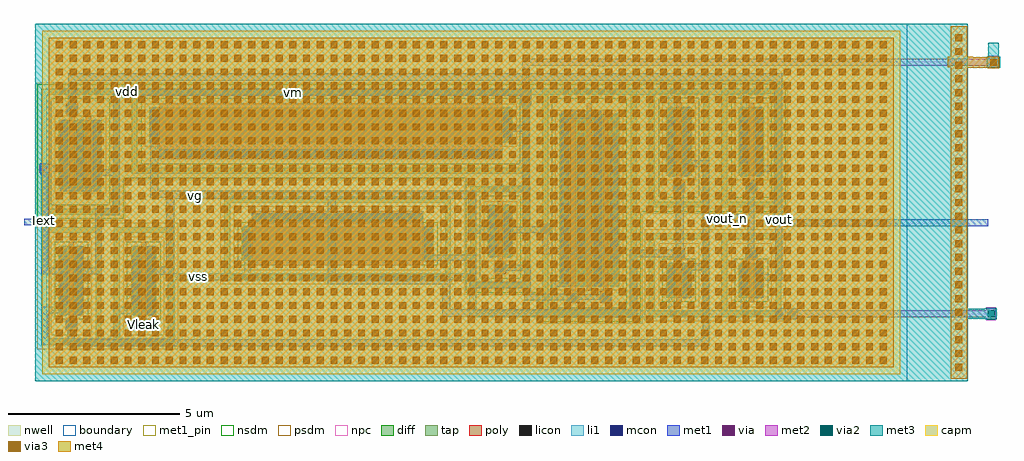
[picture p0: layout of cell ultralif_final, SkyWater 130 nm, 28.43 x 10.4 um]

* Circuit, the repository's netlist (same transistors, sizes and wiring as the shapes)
* NGSPICE file created from ultralif_final.ext - technology: sky130A

.subckt sky130_fd_pr__nfet_01v8_8CWFJ6 B D S G
X0 S G D B sky130_fd_pr__nfet_01v8 ad=0.58 pd=4.58 as=0.58 ps=4.58 w=2 l=0.15
.ends

.subckt sky130_fd_pr__nfet_01v8_A8ARHG B D S G
X0 S G D B sky130_fd_pr__nfet_01v8 ad=0.29 pd=2.58 as=0.29 ps=2.58 w=1 l=0.15
.ends

.subckt sky130_fd_pr__pfet_01v8_UAAMFL D S G B
X0 S G D B sky130_fd_pr__pfet_01v8 ad=1.55 pd=10.62 as=0.825 ps=5.33 w=5 l=0.15
X1 S G D B sky130_fd_pr__pfet_01v8 ad=0.825 pd=5.33 as=1.55 ps=10.62 w=5 l=0.15
X2 D a_n15_n509# S B sky130_fd_pr__pfet_01v8 ad=0.825 pd=5.33 as=0.825 ps=5.33 w=5 l=0.15
.ends

.subckt sky130_fd_pr__pfet_01v8_KCU4UF D S G B
X0 S a_n63_n281# D B sky130_fd_pr__pfet_01v8 ad=0.33 pd=2.33 as=0.62 ps=4.62 w=2 l=0.15
X1 D G S B sky130_fd_pr__pfet_01v8 ad=0.62 pd=4.62 as=0.33 ps=2.33 w=2 l=0.15
.ends

.subckt sky130_fd_pr__pfet_01v8_UVWACL B D S G
X0 S G D B sky130_fd_pr__pfet_01v8 ad=0.435 pd=3.58 as=0.435 ps=3.58 w=1.5 l=0.15
.ends

.subckt sky130_fd_pr__pfet_01v8_RCLJGL B D S G
X0 S G D B sky130_fd_pr__pfet_01v8 ad=0.58 pd=4.58 as=0.58 ps=4.58 w=2 l=0.15
.ends

.subckt sky130_fd_pr__cap_mim_m3_1_5PJWHD C2 C1
X0 C1 C2 sky130_fd_pr__cap_mim_m3_1 l=10 w=25
.ends

.subckt sky130_fd_pr__pfet_01v8_6W5W95 B D S G
X0 S G D B sky130_fd_pr__pfet_01v8 ad=0.29 pd=2.58 as=0.29 ps=2.58 w=1 l=10
.ends

.subckt sky130_fd_pr__nfet_01v8_MFDSFG B D S G
X0 S G D B sky130_fd_pr__nfet_01v8 ad=0.29 pd=2.58 as=0.29 ps=2.58 w=1 l=5
.ends

.subckt ultralif_final vss vout vdd Vleak
Xsky130_fd_pr__nfet_01v8_8CWFJ6_1 vss vg vss Vleak sky130_fd_pr__nfet_01v8_8CWFJ6
Xsky130_fd_pr__nfet_01v8_A8ARHG_1 vss vout vss vout_n sky130_fd_pr__nfet_01v8_A8ARHG
Xsky130_fd_pr__nfet_01v8_A8ARHG_0 vss vout_n vss vg sky130_fd_pr__nfet_01v8_A8ARHG
Xsky130_fd_pr__pfet_01v8_UAAMFL_0 sky130_fd_pr__pfet_01v8_UVWACL_0/G vss sky130_fd_pr__pfet_01v8_UVWACL_0/G
+ vdd sky130_fd_pr__pfet_01v8_UAAMFL
Xsky130_fd_pr__pfet_01v8_KCU4UF_0 vss vss vout vdd sky130_fd_pr__pfet_01v8_KCU4UF
Xsky130_fd_pr__pfet_01v8_UVWACL_0 vdd vg vss sky130_fd_pr__pfet_01v8_UVWACL_0/G sky130_fd_pr__pfet_01v8_UVWACL
Xsky130_fd_pr__pfet_01v8_RCLJGL_0 vdd vout_n vdd vg sky130_fd_pr__pfet_01v8_RCLJGL
Xsky130_fd_pr__cap_mim_m3_1_5PJWHD_0 vss sky130_fd_pr__cap_mim_m3_1_5PJWHD_0/C1 sky130_fd_pr__cap_mim_m3_1_5PJWHD
Xsky130_fd_pr__pfet_01v8_RCLJGL_1 vdd vout vdd vout_n sky130_fd_pr__pfet_01v8_RCLJGL
Xsky130_fd_pr__pfet_01v8_6W5W95_0 vdd vg vss vg sky130_fd_pr__pfet_01v8_6W5W95
Xsky130_fd_pr__nfet_01v8_MFDSFG_0 vss sky130_fd_pr__pfet_01v8_UVWACL_0/G vss vg sky130_fd_pr__nfet_01v8_MFDSFG
Xsky130_fd_pr__nfet_01v8_8CWFJ6_0 vss vss vss vout_n sky130_fd_pr__nfet_01v8_8CWFJ6
.ends

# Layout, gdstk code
from math import pi, radians
import gdstk
lib = gdstk.Library(unit=1e-6, precision=1e-09)
def R(c, l, rs):  # rectangles x0, y0, x1, y1
    for r in rs: c.add(gdstk.rectangle(r[:2], r[2:], *l))
def A(c, l, x, y, w, h, nx, ny, dx, dy):  # array of equal rectangles
    R(c, l, [(x+i*dx, y+j*dy, x+i*dx+w, y+j*dy+h) for i in range(nx) for j in range(ny)])
nwell = (64, 20)
diff = (65, 20)
tap = (65, 44)
poly = (66, 20)
licon = (66, 44)
li1 = (67, 20)
mcon = (67, 44)
met1_pin = (68, 16)
met1 = (68, 20)
via = (68, 44)
met2 = (69, 20)
via2 = (69, 44)
met3 = (70, 20)
via3 = (70, 44)
met4 = (71, 20)
capm = (89, 44)
nsdm = (93, 44)
psdm = (94, 20)
npc = (95, 20)
boundary = (235, 4)

sky130_fd_pr__nfet_01v8_ = lib.new_cell('sky130_fd_pr__nfet_01v8_8CWFJ6')
R(sky130_fd_pr__nfet_01v8_, diff, [(-0.365,-0.845,0.365,1.155)])
R(sky130_fd_pr__nfet_01v8_, tap, [(-0.875,-1.715,0.875,-1.545), (-0.875,-1.545,-0.705,1.545), (0.705,-1.545,0.875,1.545), (-0.875,1.545,0.875,1.715)])
R(sky130_fd_pr__nfet_01v8_, poly, [(-0.165,-1.285,0.165,-0.955), (-0.075,-0.955,0.075,1.285)])
A(sky130_fd_pr__nfet_01v8_, licon, -0.305, -0.78, 0.17, 0.17, 1, 6, 0, 0.34)
A(sky130_fd_pr__nfet_01v8_, licon, 0.135, -0.78, 0.17, 0.17, 1, 6, 0, 0.34)
R(sky130_fd_pr__nfet_01v8_, licon, [(-0.255,-1.715,-0.085,-1.545), (0.085,-1.715,0.255,-1.545), (-0.085,-1.205,0.085,-1.035)])
R(sky130_fd_pr__nfet_01v8_, li1, [(-0.475,-1.715,0.475,-1.545), (-0.165,-1.205,0.165,-1.035), (-0.305,-0.865,-0.135,1.175), (0.135,-0.865,0.305,1.175)])
A(sky130_fd_pr__nfet_01v8_, mcon, -0.305, -0.65, 0.17, 0.17, 1, 5, 0, 0.36)
A(sky130_fd_pr__nfet_01v8_, mcon, 0.135, -0.47, 0.17, 0.17, 1, 4, 0, 0.36)
R(sky130_fd_pr__nfet_01v8_, mcon, [(-0.085,-1.205,0.085,-1.035)])
R(sky130_fd_pr__nfet_01v8_, met1, [(-0.145,-1.235,0.145,-1.005), (-0.335,-0.845,-0.105,1.155), (0.105,-0.565,0.335,0.875)])
R(sky130_fd_pr__nfet_01v8_, nsdm, [(-0.49,-0.97,0.49,1.28)])
R(sky130_fd_pr__nfet_01v8_, psdm, [(-1,-1.84,1,-1.42), (-1,-1.42,-0.58,1.42), (0.58,-1.42,1,1.42), (-1,1.42,1,1.84)])
R(sky130_fd_pr__nfet_01v8_, npc, [(-0.185,-1.305,0.185,-0.935)])
R(sky130_fd_pr__nfet_01v8_, boundary, [(-0.79,-1.63,0.79,1.63)])
sky130_fd_pr__nfet_01v8_.add(gdstk.Label('B', (0,-1.63), layer=67, texttype=5))
sky130_fd_pr__nfet_01v8_.add(gdstk.Label('D', (-0.22,0.155), layer=67, texttype=5))
sky130_fd_pr__nfet_01v8_.add(gdstk.Label('S', (0.22,0.155), layer=67, texttype=5))
sky130_fd_pr__nfet_01v8_.add(gdstk.Label('G', (0,-1.12), layer=67, texttype=5))

c_sky130_fd_pr__nfet_01v8_ = lib.new_cell('sky130_fd_pr__nfet_01v8_MFDSFG')
R(c_sky130_fd_pr__nfet_01v8_, diff, [(-2.79,-0.655,2.79,0.345)])
R(c_sky130_fd_pr__nfet_01v8_, tap, [(-3.3,-1.215,3.3,-1.045), (-3.3,-1.045,-3.13,1.045), (3.13,-1.045,3.3,1.045), (-3.3,1.045,3.3,1.215)])
R(c_sky130_fd_pr__nfet_01v8_, poly, [(-2.5,-0.785,2.5,0.785)])
A(c_sky130_fd_pr__nfet_01v8_, licon, -2.805, -1.215, 0.17, 0.17, 17, 1, 0.34, 0)
A(c_sky130_fd_pr__nfet_01v8_, licon, -2.73, -0.58, 0.17, 0.17, 1, 3, 0, 0.34)
A(c_sky130_fd_pr__nfet_01v8_, licon, 2.56, -0.58, 0.17, 0.17, 1, 3, 0, 0.34)
A(c_sky130_fd_pr__nfet_01v8_, licon, -2.295, 0.535, 0.17, 0.17, 14, 1, 0.34, 0)
R(c_sky130_fd_pr__nfet_01v8_, li1, [(-2.9,-1.215,2.9,-1.045), (-2.73,-0.675,-2.56,0.365), (2.56,-0.675,2.73,0.365), (-2.5,0.535,2.5,0.705)])
A(c_sky130_fd_pr__nfet_01v8_, mcon, -2.245, 0.535, 0.17, 0.17, 13, 1, 0.36, 0)
R(c_sky130_fd_pr__nfet_01v8_, mcon, [(-2.73,-0.42,-2.56,-0.25), (2.56,-0.42,2.73,-0.25), (-2.73,-0.06,-2.56,0.11), (2.56,-0.06,2.73,0.11)])
R(c_sky130_fd_pr__nfet_01v8_, met1, [(-2.76,-0.655,-2.53,0.345), (2.53,-0.525,2.76,0.215), (-2.48,0.505,2.48,0.735)])
R(c_sky130_fd_pr__nfet_01v8_, nsdm, [(-2.915,-0.78,2.915,0.47)])
R(c_sky130_fd_pr__nfet_01v8_, psdm, [(-3.425,-1.34,3.425,-0.92), (-3.425,-0.92,-3.005,0.92), (3.005,-0.92,3.425,0.92), (-3.425,0.92,3.425,1.34)])
R(c_sky130_fd_pr__nfet_01v8_, npc, [(-2.395,0.435,2.395,0.805)])
R(c_sky130_fd_pr__nfet_01v8_, boundary, [(-3.215,-1.13,3.215,1.13)])
c_sky130_fd_pr__nfet_01v8_.add(gdstk.Label('B', (0,-1.13), layer=67, texttype=5))
c_sky130_fd_pr__nfet_01v8_.add(gdstk.Label('D', (-2.645,-0.155), layer=67, texttype=5))
c_sky130_fd_pr__nfet_01v8_.add(gdstk.Label('S', (2.645,-0.155), layer=67, texttype=5))
c_sky130_fd_pr__nfet_01v8_.add(gdstk.Label('G', (0,0.62), layer=67, texttype=5))

sky130_fd_pr__pfet_01v8_ = lib.new_cell('sky130_fd_pr__pfet_01v8_6W5W95')
R(sky130_fd_pr__pfet_01v8_, nwell, [(-5.98,-1.42,5.98,1.42)])
R(sky130_fd_pr__pfet_01v8_, diff, [(-5.29,-0.32,5.29,0.68)])
R(sky130_fd_pr__pfet_01v8_, tap, [(-5.8,-1.24,5.8,-1.07), (-5.8,-1.07,-5.63,1.07), (5.63,-1.07,5.8,1.07), (-5.8,1.07,5.8,1.24)])
R(sky130_fd_pr__pfet_01v8_, poly, [(-5,-0.805,5,0.81)])
A(sky130_fd_pr__pfet_01v8_, licon, -4.845, -0.725, 0.17, 0.17, 29, 1, 0.34, 0)
A(sky130_fd_pr__pfet_01v8_, licon, -5.23, -0.245, 0.17, 0.17, 1, 3, 0, 0.34)
A(sky130_fd_pr__pfet_01v8_, licon, 5.06, -0.245, 0.17, 0.17, 1, 3, 0, 0.34)
A(sky130_fd_pr__pfet_01v8_, licon, -5.185, 1.07, 0.17, 0.17, 31, 1, 0.34, 0)
R(sky130_fd_pr__pfet_01v8_, li1, [(-5,-0.725,5,-0.555), (-5.23,-0.34,-5.06,0.7), (5.06,-0.34,5.23,0.7), (-5.4,1.07,5.4,1.24)])
A(sky130_fd_pr__pfet_01v8_, mcon, -4.765, -0.725, 0.17, 0.17, 27, 1, 0.36, 0)
R(sky130_fd_pr__pfet_01v8_, mcon, [(-5.23,-0.085,-5.06,0.085), (5.06,-0.085,5.23,0.085), (-5.23,0.275,-5.06,0.445), (5.06,0.275,5.23,0.445)])
R(sky130_fd_pr__pfet_01v8_, met1, [(-4.98,-0.755,4.98,-0.525), (-5.26,-0.32,-5.03,0.68), (5.03,-0.19,5.26,0.55)])
R(sky130_fd_pr__pfet_01v8_, nsdm, [(-5.925,-1.365,5.925,-0.945), (-5.925,-0.945,-5.505,0.945), (5.505,-0.945,5.925,0.945), (-5.925,0.945,5.925,1.365)])
R(sky130_fd_pr__pfet_01v8_, psdm, [(-5.415,-0.445,5.415,0.805)])
R(sky130_fd_pr__pfet_01v8_, npc, [(-4.945,-0.825,4.945,-0.455)])
R(sky130_fd_pr__pfet_01v8_, boundary, [(-5.715,-1.155,5.715,1.155)])
sky130_fd_pr__pfet_01v8_.add(gdstk.Label('B', (0,-1.155), layer=65, texttype=5))
sky130_fd_pr__pfet_01v8_.add(gdstk.Label('D', (-5.145,0.18), layer=67, texttype=5))
sky130_fd_pr__pfet_01v8_.add(gdstk.Label('S', (5.145,0.18), layer=67, texttype=5))
sky130_fd_pr__pfet_01v8_.add(gdstk.Label('G', (0,-0.64), layer=67, texttype=5))

c_sky130_fd_pr__pfet_01v8_ = lib.new_cell('sky130_fd_pr__pfet_01v8_KCU4UF')
R(c_sky130_fd_pr__pfet_01v8_, nwell, [(-1.315,-2.015,1.315,2.015)])
R(c_sky130_fd_pr__pfet_01v8_, diff, [(-0.625,-1.085,0.625,0.915)])
R(c_sky130_fd_pr__pfet_01v8_, tap, [(-1.135,-1.835,1.135,-1.665), (-1.135,-1.665,-0.965,1.665), (0.965,-1.665,1.135,1.665), (-1.135,1.665,1.135,1.835)])
R(c_sky130_fd_pr__pfet_01v8_, poly, [(-0.315,-1.405,-0.165,1.045), (0.165,-1.215,0.315,1.07), (0.075,1.07,0.405,1.4)])
A(c_sky130_fd_pr__pfet_01v8_, licon, -0.565, -1.02, 0.17, 0.17, 3, 6, 0.48, 0.34)
A(c_sky130_fd_pr__pfet_01v8_, licon, -0.595, 1.665, 0.17, 0.17, 4, 1, 0.34, 0)
R(c_sky130_fd_pr__pfet_01v8_, licon, [(0.155,1.15,0.325,1.32)])
A(c_sky130_fd_pr__pfet_01v8_, li1, -0.565, -1.105, 0.17, 2.04, 3, 1, 0.48, 0)
R(c_sky130_fd_pr__pfet_01v8_, li1, [(0.075,1.15,0.405,1.32), (-0.735,1.665,0.735,1.835)])
A(c_sky130_fd_pr__pfet_01v8_, mcon, -0.565, -0.89, 0.17, 0.17, 1, 5, 0, 0.36)
A(c_sky130_fd_pr__pfet_01v8_, mcon, 0.395, -0.89, 0.17, 0.17, 1, 5, 0, 0.36)
A(c_sky130_fd_pr__pfet_01v8_, mcon, -0.085, -0.71, 0.17, 0.17, 1, 4, 0, 0.36)
R(c_sky130_fd_pr__pfet_01v8_, mcon, [(0.155,1.15,0.325,1.32)])
R(c_sky130_fd_pr__pfet_01v8_, met1, [(-0.595,-1.155,0.59,-1.085), (-0.595,-1.085,0.595,-1.015), (-0.595,-1.015,-0.365,0.915), (0.365,-1.015,0.595,0.915), (-0.115,-0.805,0.115,0.635), (0.095,1.12,0.385,1.35)])
R(c_sky130_fd_pr__pfet_01v8_, nsdm, [(-1.26,-1.96,1.26,-1.54), (-1.26,-1.54,-0.84,1.54), (0.84,-1.54,1.26,1.54), (-1.26,1.54,1.26,1.96)])
R(c_sky130_fd_pr__pfet_01v8_, psdm, [(-0.75,-1.21,0.75,1.04)])
R(c_sky130_fd_pr__pfet_01v8_, npc, [(0.055,1.05,0.425,1.42)])
c_sky130_fd_pr__pfet_01v8_.add(gdstk.Label('D', (-0.01,-1.1), layer=68, texttype=5))
c_sky130_fd_pr__pfet_01v8_.add(gdstk.Label('S', (-0.005,-0.095), layer=68, texttype=5))
c_sky130_fd_pr__pfet_01v8_.add(gdstk.Label('G', (0.24,1.235), layer=68, texttype=5))
c_sky130_fd_pr__pfet_01v8_.add(gdstk.Label('B', (-0.005,1.75), layer=67, texttype=5))

c_sky130_fd_pr__pfet_01v8__ = lib.new_cell('sky130_fd_pr__pfet_01v8_UVWACL')
R(c_sky130_fd_pr__pfet_01v8__, nwell, [(-1.055,-1.67,1.055,1.67)])
R(c_sky130_fd_pr__pfet_01v8__, diff, [(-0.365,-0.57,0.365,0.93)])
R(c_sky130_fd_pr__pfet_01v8__, tap, [(-0.875,-1.49,0.875,-1.32), (-0.875,-1.32,-0.705,1.32), (0.705,-1.32,0.875,1.32), (-0.875,1.32,0.875,1.49)])
R(c_sky130_fd_pr__pfet_01v8__, poly, [(-0.165,-1.055,0.165,-0.725), (-0.075,-0.725,0.075,1.06)])
A(c_sky130_fd_pr__pfet_01v8__, licon, -0.305, -0.415, 0.17, 0.17, 1, 4, 0, 0.34)
A(c_sky130_fd_pr__pfet_01v8__, licon, 0.135, -0.415, 0.17, 0.17, 1, 4, 0, 0.34)
R(c_sky130_fd_pr__pfet_01v8__, licon, [(-0.085,-0.975,0.085,-0.805), (-0.255,1.32,-0.085,1.49), (0.085,1.32,0.255,1.49)])
R(c_sky130_fd_pr__pfet_01v8__, li1, [(-0.165,-0.975,0.165,-0.805), (-0.305,-0.59,-0.135,0.95), (0.135,-0.59,0.305,0.95), (-0.475,1.32,0.475,1.49)])
A(c_sky130_fd_pr__pfet_01v8__, mcon, -0.305, -0.445, 0.17, 0.17, 1, 4, 0, 0.36)
A(c_sky130_fd_pr__pfet_01v8__, mcon, 0.135, -0.265, 0.17, 0.17, 1, 3, 0, 0.36)
R(c_sky130_fd_pr__pfet_01v8__, mcon, [(-0.085,-0.975,0.085,-0.805)])
R(c_sky130_fd_pr__pfet_01v8__, met1, [(-0.145,-1.005,0.145,-0.775), (-0.335,-0.57,-0.105,0.93), (0.105,-0.365,0.335,0.725)])
R(c_sky130_fd_pr__pfet_01v8__, nsdm, [(-1,-1.615,1,-1.195), (-1,-1.195,-0.58,1.195), (0.58,-1.195,1,1.195), (-1,1.195,1,1.615)])
R(c_sky130_fd_pr__pfet_01v8__, psdm, [(-0.49,-0.695,0.49,1.055)])
R(c_sky130_fd_pr__pfet_01v8__, npc, [(-0.185,-1.075,0.185,-0.705)])
R(c_sky130_fd_pr__pfet_01v8__, boundary, [(-0.79,-1.405,0.79,1.405)])
c_sky130_fd_pr__pfet_01v8__.add(gdstk.Label('B', (0,-1.405), layer=65, texttype=5))
c_sky130_fd_pr__pfet_01v8__.add(gdstk.Label('D', (-0.22,0.18), layer=67, texttype=5))
c_sky130_fd_pr__pfet_01v8__.add(gdstk.Label('S', (0.22,0.18), layer=67, texttype=5))
c_sky130_fd_pr__pfet_01v8__.add(gdstk.Label('G', (0,-0.89), layer=67, texttype=5))

c_sky130_fd_pr__nfet_01v8__ = lib.new_cell('sky130_fd_pr__nfet_01v8_A8ARHG')
R(c_sky130_fd_pr__nfet_01v8__, diff, [(-0.365,-0.655,0.365,0.345)])
R(c_sky130_fd_pr__nfet_01v8__, tap, [(-0.875,-1.215,0.875,-1.045), (-0.875,-1.045,-0.705,1.045), (0.705,-1.045,0.875,1.045), (-0.875,1.045,0.875,1.215)])
R(c_sky130_fd_pr__nfet_01v8__, poly, [(-0.075,-0.785,0.075,0.455), (-0.165,0.455,0.165,0.785)])
A(c_sky130_fd_pr__nfet_01v8__, licon, -0.305, -0.58, 0.17, 0.17, 1, 3, 0, 0.34)
A(c_sky130_fd_pr__nfet_01v8__, licon, 0.135, -0.58, 0.17, 0.17, 1, 3, 0, 0.34)
R(c_sky130_fd_pr__nfet_01v8__, licon, [(-0.255,-1.215,-0.085,-1.045), (0.085,-1.215,0.255,-1.045), (-0.085,0.535,0.085,0.705)])
R(c_sky130_fd_pr__nfet_01v8__, li1, [(-0.475,-1.215,0.475,-1.045), (-0.305,-0.675,-0.135,0.365), (0.135,-0.675,0.305,0.365), (-0.165,0.535,0.165,0.705)])
R(c_sky130_fd_pr__nfet_01v8__, mcon, [(-0.305,-0.42,-0.135,-0.25), (0.135,-0.42,0.305,-0.25), (-0.305,-0.06,-0.135,0.11), (0.135,-0.06,0.305,0.11), (-0.085,0.535,0.085,0.705)])
R(c_sky130_fd_pr__nfet_01v8__, met1, [(-0.335,-0.655,-0.105,0.345), (0.105,-0.525,0.335,0.215), (-0.145,0.505,0.145,0.735)])
R(c_sky130_fd_pr__nfet_01v8__, nsdm, [(-0.49,-0.78,0.49,0.47)])
R(c_sky130_fd_pr__nfet_01v8__, psdm, [(-1,-1.34,1,-0.92), (-1,-0.92,-0.58,0.92), (0.58,-0.92,1,0.92), (-1,0.92,1,1.34)])
R(c_sky130_fd_pr__nfet_01v8__, npc, [(-0.185,0.435,0.185,0.805)])
R(c_sky130_fd_pr__nfet_01v8__, boundary, [(-0.79,-1.13,0.79,1.13)])
c_sky130_fd_pr__nfet_01v8__.add(gdstk.Label('B', (0,-1.13), layer=67, texttype=5))
c_sky130_fd_pr__nfet_01v8__.add(gdstk.Label('D', (-0.22,-0.155), layer=67, texttype=5))
c_sky130_fd_pr__nfet_01v8__.add(gdstk.Label('S', (0.22,-0.155), layer=67, texttype=5))
c_sky130_fd_pr__nfet_01v8__.add(gdstk.Label('G', (0,0.62), layer=67, texttype=5))

c_sky130_fd_pr__pfet_01v8___ = lib.new_cell('sky130_fd_pr__pfet_01v8_RCLJGL')
R(c_sky130_fd_pr__pfet_01v8___, nwell, [(-1.055,-1.92,1.055,1.92)])
R(c_sky130_fd_pr__pfet_01v8___, diff, [(-0.365,-0.82,0.365,1.18)])
R(c_sky130_fd_pr__pfet_01v8___, tap, [(-0.875,-1.74,0.875,-1.57), (-0.875,-1.57,-0.705,1.57), (0.705,-1.57,0.875,1.57), (-0.875,1.57,0.875,1.74)])
R(c_sky130_fd_pr__pfet_01v8___, poly, [(-0.165,-1.305,0.165,-0.975), (-0.075,-0.975,0.075,1.31)])
A(c_sky130_fd_pr__pfet_01v8___, licon, -0.305, -0.755, 0.17, 0.17, 1, 6, 0, 0.34)
A(c_sky130_fd_pr__pfet_01v8___, licon, 0.135, -0.755, 0.17, 0.17, 1, 6, 0, 0.34)
R(c_sky130_fd_pr__pfet_01v8___, licon, [(-0.085,-1.225,0.085,-1.055), (-0.255,1.57,-0.085,1.74), (0.085,1.57,0.255,1.74)])
R(c_sky130_fd_pr__pfet_01v8___, li1, [(-0.165,-1.225,0.165,-1.055), (-0.305,-0.84,-0.135,1.2), (0.135,-0.84,0.305,1.2), (-0.475,1.57,0.475,1.74)])
A(c_sky130_fd_pr__pfet_01v8___, mcon, -0.305, -0.625, 0.17, 0.17, 1, 5, 0, 0.36)
A(c_sky130_fd_pr__pfet_01v8___, mcon, 0.135, -0.445, 0.17, 0.17, 1, 4, 0, 0.36)
R(c_sky130_fd_pr__pfet_01v8___, mcon, [(-0.085,-1.225,0.085,-1.055)])
R(c_sky130_fd_pr__pfet_01v8___, met1, [(-0.145,-1.255,0.145,-1.025), (-0.335,-0.82,-0.105,1.18), (0.105,-0.54,0.335,0.9)])
R(c_sky130_fd_pr__pfet_01v8___, nsdm, [(-1,-1.865,1,-1.445), (-1,-1.445,-0.58,1.445), (0.58,-1.445,1,1.445), (-1,1.445,1,1.865)])
R(c_sky130_fd_pr__pfet_01v8___, psdm, [(-0.49,-0.945,0.49,1.305)])
R(c_sky130_fd_pr__pfet_01v8___, npc, [(-0.185,-1.325,0.185,-0.955)])
R(c_sky130_fd_pr__pfet_01v8___, boundary, [(-0.79,-1.655,0.79,1.655)])
c_sky130_fd_pr__pfet_01v8___.add(gdstk.Label('B', (0,-1.655), layer=65, texttype=5))
c_sky130_fd_pr__pfet_01v8___.add(gdstk.Label('D', (-0.22,0.18), layer=67, texttype=5))
c_sky130_fd_pr__pfet_01v8___.add(gdstk.Label('S', (0.22,0.18), layer=67, texttype=5))
c_sky130_fd_pr__pfet_01v8___.add(gdstk.Label('G', (0,-1.14), layer=67, texttype=5))

c_sky130_fd_pr__pfet_01v8____ = lib.new_cell('sky130_fd_pr__pfet_01v8_UAAMFL')
R(c_sky130_fd_pr__pfet_01v8____, nwell, [(-1.555,-3.515,1.555,3.515)])
R(c_sky130_fd_pr__pfet_01v8____, diff, [(-0.865,-2.415,0.865,2.585)])
R(c_sky130_fd_pr__pfet_01v8____, tap, [(-1.375,-3.335,1.375,-3.165), (-1.375,-3.165,-1.205,3.165), (1.205,-3.165,1.375,3.165), (-1.375,3.165,1.375,3.335)])
R(c_sky130_fd_pr__pfet_01v8____, poly, [(-0.645,-2.9,-0.315,-2.57), (0.315,-2.9,0.645,-2.57), (-0.555,-2.57,-0.405,2.715), (0.405,-2.57,0.555,2.715), (-0.075,-2.545,0.075,2.905)])
A(c_sky130_fd_pr__pfet_01v8____, licon, -0.805, -2.21, 0.17, 0.17, 4, 14, 0.48, 0.34)
A(c_sky130_fd_pr__pfet_01v8____, licon, -0.765, 3.165, 0.17, 0.17, 5, 1, 0.34, 0)
R(c_sky130_fd_pr__pfet_01v8____, licon, [(-0.565,-2.82,-0.395,-2.65), (0.395,-2.82,0.565,-2.65)])
A(c_sky130_fd_pr__pfet_01v8____, li1, -0.805, -2.435, 0.17, 5.04, 4, 1, 0.48, 0)
R(c_sky130_fd_pr__pfet_01v8____, li1, [(-0.645,-2.82,-0.315,-2.65), (0.315,-2.82,0.645,-2.65), (-0.975,3.165,0.975,3.335)])
A(c_sky130_fd_pr__pfet_01v8____, mcon, -0.805, -1.62, 0.17, 0.17, 4, 10, 0.48, 0.36)
R(c_sky130_fd_pr__pfet_01v8____, mcon, [(-0.565,-2.82,-0.395,-2.65), (0.395,-2.82,0.565,-2.65), (-0.805,-2.34,-0.635,-2.17), (0.155,-2.34,0.325,-2.17), (-0.805,-1.98,-0.635,-1.81), (0.155,-1.98,0.325,-1.81), (-0.805,1.98,-0.635,2.15), (0.155,1.98,0.325,2.15), (-0.805,2.34,-0.635,2.51), (0.155,2.34,0.325,2.51)])
R(c_sky130_fd_pr__pfet_01v8____, met1, [(-0.625,-2.85,-0.335,-2.82), (0.335,-2.85,0.625,-2.82), (-0.625,-2.82,0.625,-2.65), (-0.625,-2.65,-0.335,-2.62), (0.335,-2.65,0.625,-2.62), (-0.835,-2.415,-0.605,2.455), (0.125,-2.415,0.355,2.455), (-0.355,-1.685,-0.125,-1.56), (0.605,-1.685,0.835,-1.56), (-0.38,-1.56,-0.12,-1.24), (0.605,-1.56,0.885,-1.49), (0.605,-1.49,0.935,-1.31), (0.605,-1.31,0.885,-1.24), (-0.355,-1.24,-0.125,1.855), (0.605,-1.24,0.835,1.855), (-0.835,2.455,0.355,2.585), (-0.815,2.585,0.345,2.695)])
R(c_sky130_fd_pr__pfet_01v8____, via, [(-0.325,-1.475,-0.175,-1.325), (0.68,-1.475,0.83,-1.325)])
R(c_sky130_fd_pr__pfet_01v8____, met2, [(-0.41,-1.53,-0.09,-1.49), (0.595,-1.53,0.915,-1.49), (-0.41,-1.49,0.915,-1.31), (-0.41,-1.31,-0.09,-1.27), (0.595,-1.31,0.915,-1.27)])
R(c_sky130_fd_pr__pfet_01v8____, nsdm, [(-1.5,-3.46,1.5,-3.04), (-1.5,-3.04,-1.08,3.04), (1.08,-3.04,1.5,3.04), (-1.5,3.04,1.5,3.46)])
R(c_sky130_fd_pr__pfet_01v8____, psdm, [(-0.99,-2.54,0.99,2.71)])
R(c_sky130_fd_pr__pfet_01v8____, npc, [(-0.665,-2.92,-0.295,-2.55), (0.295,-2.92,0.665,-2.55)])
c_sky130_fd_pr__pfet_01v8____.add(gdstk.Label('D', (-0.715,0.1), layer=68, texttype=5))
c_sky130_fd_pr__pfet_01v8____.add(gdstk.Label('S', (0.73,0.16), layer=68, texttype=5))
c_sky130_fd_pr__pfet_01v8____.add(gdstk.Label('G', (0,-2.73), layer=68, texttype=5))
c_sky130_fd_pr__pfet_01v8____.add(gdstk.Label('B', (0.03,3.25), layer=67, texttype=5))

sky130_fd_pr__cap_mim_m3 = lib.new_cell('sky130_fd_pr__cap_mim_m3_1_5PJWHD')
R(sky130_fd_pr__cap_mim_m3, met3, [(-13.58,-5.2,13.58,5.2)])
A(sky130_fd_pr__cap_mim_m3, via3, 13.22, -4.9, 0.2, 0.2, 1, 25, 0, 0.4)
A(sky130_fd_pr__cap_mim_m3, via3, -12.98, -4.7, 0.2, 0.2, 61, 24, 0.4, 0.4)
R(sky130_fd_pr__cap_mim_m3, met4, [(13.08,-5.14,13.56,5.14), (-13.185,-4.805,11.425,4.805)])
R(sky130_fd_pr__cap_mim_m3, capm, [(-13.38,-5,11.62,5)])
R(sky130_fd_pr__cap_mim_m3, boundary, [(-13.58,-5.2,11.82,5.2)])
sky130_fd_pr__cap_mim_m3.add(gdstk.Label('C2', (13.32,0), layer=71, texttype=5))
sky130_fd_pr__cap_mim_m3.add(gdstk.Label('C1', (-0.88,0), layer=71, texttype=5))

ultralif_final = lib.new_cell('ultralif_final')
R(ultralif_final, li1, [(0.22,-3.925,4.105,-3.725), (0.22,-3.725,0.42,-3), (2.325,-3.725,2.525,-3.005), (3.905,-3.725,4.105,-2.03), (12.69,-3.11,21.805,-2.91), (2.95,-3.065,3.035,-3.005), (2.325,-3.005,3.09,-2.805), (0.22,-3,0.92,-2.8), (12.69,-2.91,12.89,-2.03), (18.5,-2.91,18.67,-2.435), (20.595,-2.91,20.775,-2.43), (3.905,-2.03,12.89,-1.83), (6.13,-1.83,6.33,-1.125), (13.515,0.535,14.43,0.725), (14.24,0.725,14.43,3.375), (18.485,2.895,18.67,3.375), (20.6,2.9,20.77,3.375), (0.705,3.375,21.305,3.565)])
R(ultralif_final, mcon, [(21.635,-3.095,21.805,-2.925)])
R(ultralif_final, met1_pin, [(2.87,-3.455,3.54,-3.195)])
R(ultralif_final, met1, [(0.995,-3.96,19.685,-3.76), (0.995,-3.76,1.195,-3.255), (19.485,-3.76,19.685,-1.745), (2.87,-3.455,3.54,-3.195), (21.605,-3.17,22.26,-2.85), (11.905,-3.105,17.59,-2.875), (11.905,-2.875,12.135,-2.155), (17.36,-2.875,17.59,-1.37), (14.295,-2.615,15.735,-2.435), (14.295,-2.435,14.475,-2.265), (15.065,-2.435,15.245,-2.23), (12.71,-2.265,14.475,-2.085), (15.065,-2.23,15.58,-2.05), (8.565,-2.155,12.135,-1.925), (12.71,-2.085,12.89,-1.465), (14.295,-2.085,14.475,-1.76), (21.05,-2.055,21.8,-1.855), (8.565,-1.925,8.795,0.335), (3.335,-1.87,4.09,-1.64), (0.225,-1.86,0.98,-1.67), (1.22,-1.86,1.99,-1.67), (21.6,-1.855,21.8,-0.465), (13.505,-1.76,14.475,-1.58), (18.9,-1.745,19.685,-1.545), (0.23,-1.67,0.42,-0.43), (1.8,-1.67,1.99,-0.135), (3.86,-1.64,4.09,0.335), (19.485,-1.545,19.685,-0.31), (11.39,-1.465,12.89,-1.285), (17.36,-1.37,18.94,-1.14), (20.795,-1.36,20.995,-0.31), (18.71,-1.14,18.94,0.795), (14.74,-0.685,15.06,-0.645), (12.66,-0.675,13.415,-0.445), (13.72,-0.665,14.445,-0.645), (13.72,-0.645,15.06,-0.475), (14.245,-0.475,15.06,-0.465), (14.255,-0.465,14.445,0.985), (14.74,-0.465,15.06,-0.425), (21.6,-0.465,27.805,-0.32), (12.66,-0.445,12.89,0.335), (-0.28,-0.43,0.42,-0.24), (21.58,-0.32,27.805,-0.265), (19.485,-0.31,20.995,-0.11), (21.58,-0.265,21.8,1.12), (0.23,-0.24,0.42,1.06), (1.8,-0.135,2.5,-0.13), (1.8,-0.13,2.505,0.06), (19.485,-0.11,19.685,1.265), (20.795,-0.11,20.995,0.78), (2.31,0.06,2.505,0.985), (3.86,0.335,12.89,0.37), (3.395,0.37,12.89,0.565), (3.395,0.565,3.63,0.6), (3.395,0.6,3.625,1.55), (1.27,0.895,1.46,1.06), (2.31,0.985,2.51,1.005), (14.255,0.985,14.455,2.29), (1.735,1.005,2.51,1.195), (0.195,1.06,0.455,1.38), (1.235,1.06,1.495,1.38), (21.04,1.12,21.8,1.32), (2.31,1.195,2.51,1.2), (2.32,1.2,2.51,3.345), (18.93,1.265,19.685,1.465), (21.58,1.32,21.8,3.78), (3.395,1.55,4.02,1.78), (3.395,1.78,3.625,2.13), (13.72,2.29,14.455,2.48), (14.255,2.48,14.455,3.06), (1.01,2.835,1.23,3.78), (14.175,3.06,14.495,3.345), (2.32,3.345,14.495,3.535), (14.175,3.535,14.495,3.54), (1.01,3.78,21.8,4)])
R(ultralif_final, via, [(22.025,-3.085,22.175,-2.935), (14.825,-0.63,14.975,-0.48), (0.25,1.145,0.4,1.295), (1.29,1.145,1.44,1.295), (14.26,3.145,14.41,3.295)])
R(ultralif_final, met2, [(27.75,-3.195,28.03,-3.11), (21.97,-3.17,22.23,-3.11), (21.97,-3.11,28.03,-2.91), (21.97,-2.91,22.23,-2.85), (27.75,-2.91,28.03,-2.825), (14.81,-1.28,16.295,-1.1), (14.81,-1.1,14.99,-0.715), (14.77,-0.715,15.03,-0.395), (0.165,1.09,0.485,1.125), (1.205,1.09,1.525,1.125), (0.165,1.125,1.525,1.315), (0.165,1.315,0.485,1.35), (1.205,1.315,1.525,1.35), (14.205,3.06,14.465,3.38), (14.235,3.38,14.435,4.22), (27.82,4.135,28.1,4.22), (16.415,4.205,16.615,4.22), (14.235,4.22,28.1,4.42), (27.82,4.42,28.1,4.505)])
R(ultralif_final, via2, [(27.79,-3.11,27.99,-2.91), (27.86,4.22,28.06,4.42)])
R(ultralif_final, met3, [(27.725,-3.175,28.055,-3.16), (26.8,-3.16,28.055,-2.86), (27.725,-2.86,28.055,-2.845), (27.77,4.15,28.15,4.47), (27.795,4.47,28.125,4.485), (27.81,4.485,28.11,4.89)])
R(ultralif_final, via3, [(27.86,4.21,28.06,4.41)])
R(ultralif_final, met4, [(27.795,4.145,28.125,4.16), (27.07,4.16,28.125,4.17), (26.63,4.17,28.125,4.46), (26.63,4.46,27.35,4.47), (27.795,4.46,28.125,4.475)])
R(ultralif_final, nsdm, [(14.595,-2.4,14.69,0.83), (17.69,-0.04,17.8,3.67), (19.8,-0.04,19.91,3.69), (12.595,0.83,14.69,0.94), (2.62,0.94,2.73,3.67), (14.58,0.94,14.69,3.67)])
R(ultralif_final, psdm, [(2.1,-4.04,2.21,-0.36), (19.8,-3.225,19.91,-0.545)])
ultralif_final.add(gdstk.Reference(sky130_fd_pr__nfet_01v8_, (1.1,-2.2), rotation=pi, x_reflection=True))
ultralif_final.add(gdstk.Reference(sky130_fd_pr__nfet_01v8_, (3.21,-2.2), rotation=pi, x_reflection=True))
ultralif_final.add(gdstk.Reference(c_sky130_fd_pr__nfet_01v8_, (8.855,-0.815), rotation=pi, x_reflection=True))
ultralif_final.add(gdstk.Reference(sky130_fd_pr__pfet_01v8_, (8.655,2.305)))
ultralif_final.add(gdstk.Reference(c_sky130_fd_pr__pfet_01v8_, (1.36,1.71), rotation=pi, x_reflection=True))
ultralif_final.add(gdstk.Reference(c_sky130_fd_pr__pfet_01v8__, (13.595,-0.785)))
ultralif_final.add(gdstk.Reference(c_sky130_fd_pr__nfet_01v8__, (18.8,-1.885), rotation=pi, x_reflection=True))
ultralif_final.add(gdstk.Reference(c_sky130_fd_pr__nfet_01v8__, (20.91,-1.885), rotation=pi, x_reflection=True))
ultralif_final.add(gdstk.Reference(c_sky130_fd_pr__pfet_01v8___, (18.8,1.825), rotation=pi, x_reflection=True))
ultralif_final.add(gdstk.Reference(c_sky130_fd_pr__pfet_01v8___, (20.91,1.825), rotation=pi, x_reflection=True))
ultralif_final.add(gdstk.Reference(c_sky130_fd_pr__pfet_01v8____, (16.19,0.21)))
ultralif_final.add(gdstk.Reference(sky130_fd_pr__cap_mim_m3, (13.63,0.23)))
ultralif_final.add(gdstk.Label('vg', (4.71,0.44), layer=68, texttype=5))
ultralif_final.add(gdstk.Label('vout_n', (20.215,-0.23), layer=68, texttype=5))
ultralif_final.add(gdstk.Label('vm', (7.58,3.435), layer=68, texttype=5))
ultralif_final.add(gdstk.Label('Iext', (0.32,-0.295), layer=68, texttype=5))
ultralif_final.add(gdstk.Label('vout', (21.715,-0.265), layer=68, texttype=5))
ultralif_final.add(gdstk.Label('vss', (4.8,-1.925), layer=67, texttype=5))
ultralif_final.add(gdstk.Label('vdd', (2.745,3.47), layer=67, texttype=5))
ultralif_final.add(gdstk.Label('Vleak', (3.205,-3.325), layer=68, texttype=5))

lib.write_gds('ultralif_final.gds')
